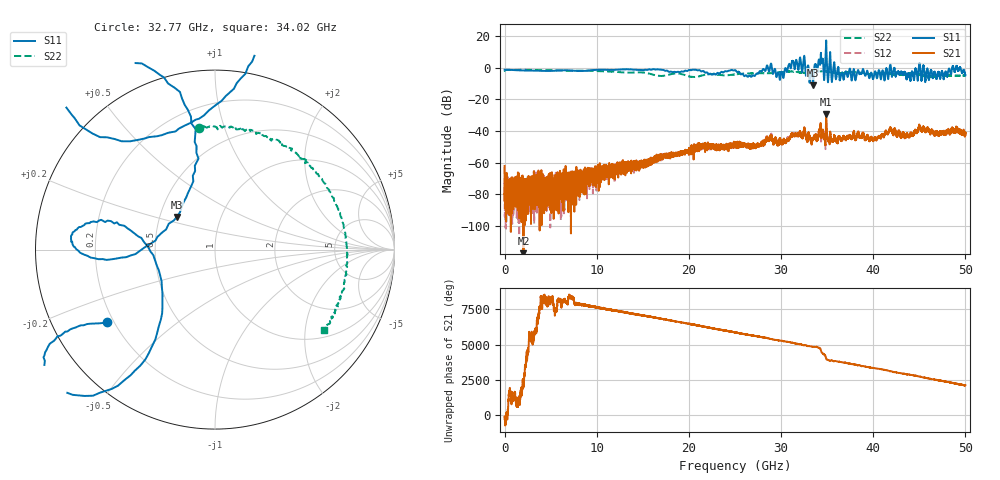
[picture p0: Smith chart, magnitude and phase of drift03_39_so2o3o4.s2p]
!Created with skrf (http://scikit-rf.org).
# Hz S RI R 50.0
!freq ReS11 ImS11 ReS21 ImS21 ReS12 ImS12 ReS22 ImS22
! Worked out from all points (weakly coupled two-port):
!   10001 points, 300 kHz to 50 GHz, reference 50 ohm
!   highest |S21| = -29.52 dB at 34.89 GHz (marker M1); lowest = -117.4 dB at 2.045 GHz (marker M2)
!   lowest |S11| = -11.1 dB at 33.47 GHz (marker M3), VSWR 1.78, Z = 30.6 + j12.1 ohm
!   |S11| at or under -10 dB: 33.44818 GHz to 33.48462 GHz (36.44 MHz wide, 0.109 % of centre)
!   |S22| runs from -5.9 to -1.3 dB; largest |S21 - S12| = 0.008
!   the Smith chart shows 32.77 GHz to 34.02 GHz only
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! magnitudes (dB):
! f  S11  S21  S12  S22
! 300 kHz  -1.3  -62.1  -63.0  -2.0
! 255.3 MHz  -1.3  -76.4  -77.4  -1.4
! 2.045 GHz  -1.8  -117.4  -73.5  -1.3
! 8.335 GHz  -2.2  -67.3  -70.4  -1.9
! 16.67 GHz  -1.1  -57.7  -57.0  -5.2
! 21.24 GHz  -1.9  -48.6  -50.0  -5.2
! 25 GHz  -1.5  -47.1  -48.7  -4.3
! 26.92 GHz  -4.9  -49.7  -48.9  -3.6
! 28.73 GHz  -2.2  -45.5  -45.8  -3.5
! 30.06 GHz  -2.5  -48.1  -47.6  -2.8
! 31.08 GHz  -0.3  -42.6  -43.2  -2.4
! 31.87 GHz  -1.5  -42.6  -42.1  -2.9
! 33.34 GHz  -2.2  -47.3  -46.9  -2.9
! 33.47 GHz  -11.1  -44.8  -44.9  -2.8
! 34.3 GHz  7.2  -35.0  -35.2  -2.3
! 34.89 GHz  17.2  -29.5  -31.8  -2.4
! 36.58 GHz  -3.4  -45.9  -46.3  -3.6
! 40.16 GHz  -2.7  -44.7  -44.2  -3.7
! 41.67 GHz  -5.5  -40.4  -40.4  -3.7
! 47.06 GHz  -2.7  -41.9  -42.2  -5.1
! 49.21 GHz  -1.9  -39.5  -39.6  -5.2
! 50 GHz  -4.9  -41.3  -43.1  -5.0
